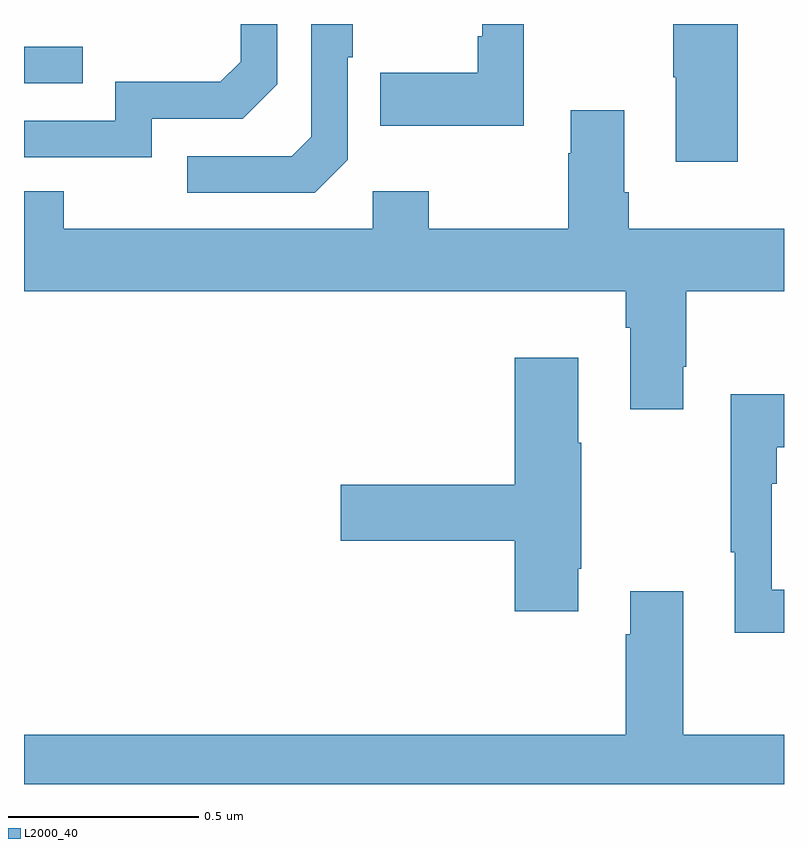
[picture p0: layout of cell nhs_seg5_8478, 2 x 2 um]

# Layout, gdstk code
import gdstk
lib = gdstk.Library(unit=1e-6, precision=1e-09)
def R(c, l, rs):  # rectangles x0, y0, x1, y1
    for r in rs: c.add(gdstk.rectangle(r[:2], r[2:], *l))
def P(c, l, *ps):  # polygons
    for p in ps: c.add(gdstk.Polygon(p, *l))
L2000_40 = (2000, 40)

nhs_seg5_8478 = lib.new_cell('nhs_seg5_8478')
R(nhs_seg5_8478, L2000_40, [(222,854.643,222.155,854.739)])
P(nhs_seg5_8478, L2000_40, [(222.852,854.442),(222.852,854.711),(222.865,854.711),(222.865,854.799),(222.756,854.799),(222.756,854.502),(222.705,854.451),(222.429,854.451),(222.429,854.355),(222.765,854.355)],
  [(223.315,854.799),(223.206,854.799),(223.206,854.767),(223.194,854.767),(223.194,854.671),(222.937,854.671),(222.937,854.531),(223.315,854.531)],
  [(223.878,854.799),(223.708,854.799),(223.708,854.659),(223.715,854.659),(223.715,854.436),(223.878,854.436)],
  [(222.336,854.55),(222.576,854.55),(222.666,854.64),(222.666,854.799),(222.57,854.799),(222.57,854.7),(222.517,854.647),(222.24,854.647),(222.24,854.544),(222,854.544),(222,854.448),(222.336,854.448)],
  [(223.735,853.897),(223.743,853.897),(223.743,854.096),(224,854.096),(224,854.26),(223.592,854.26),(223.592,854.356),(223.579,854.356),(223.579,854.572),(223.439,854.572),(223.439,854.459),(223.432,854.459),(223.432,854.26),(223.065,854.26),(223.065,854.359),(222.918,854.359),(222.918,854.26),(222.105,854.26),(222.105,854.359),(222,854.359),(222,854.096),(223.583,854.096),(223.583,854),(223.595,854),(223.595,853.785),(223.735,853.785)],
  [(223.459,853.366),(223.467,853.366),(223.467,853.697),(223.459,853.697),(223.459,853.921),(223.292,853.921),(223.292,853.586),(222.834,853.586),(222.834,853.439),(223.292,853.439),(223.292,853.254),(223.459,853.254)],
  [(224,853.31),(223.968,853.31),(223.968,853.589),(223.981,853.589),(223.981,853.685),(224,853.685),(224,853.825),(223.86,853.825),(223.86,853.409),(223.871,853.409),(223.871,853.197),(224,853.197)],
  [(224,852.928),(223.735,852.928),(223.735,853.306),(223.595,853.306),(223.595,853.193),(223.583,853.193),(223.583,852.928),(222,852.928),(222,852.799),(224,852.799)])

lib.write_gds('nhs_seg5_8478.gds')
